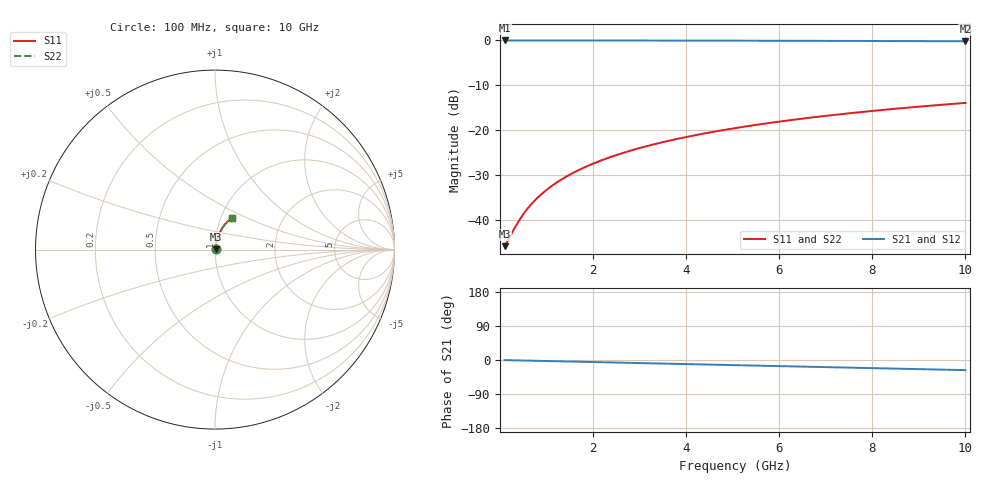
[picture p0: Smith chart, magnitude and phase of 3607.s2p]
# Hz S RI R 50.00
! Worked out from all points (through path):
!   100 points, 100 MHz to 10 GHz, reference 50 ohm
!   highest |S21| = -0.04 dB at 100 MHz (marker M1); lowest = -0.2 dB at 10 GHz (marker M2)
!   group delay of S21, straight-line fit = 7.42 ps
!   lowest |S11| = -45.8 dB at 100 MHz (marker M3), VSWR 1.01, Z = 50.5 + j0.211 ohm
!   |S11| at or under -10 dB: start of sweep to end of sweep
!   |S22| runs from -45.8 to -13.9 dB; largest |S21 - S12| = 0
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1e8  0.00467 0.00209  0.9953 -0.00469  0.9953 -0.00469  0.00467 0.00209
2e8  0.00473 0.00418  0.9952 -0.00938  0.9952 -0.00938  0.00473 0.00418
3e8  0.00481 0.00626  0.9952 -0.0141  0.9952 -0.0141  0.00481 0.00626
4e8  0.00489 0.00835  0.995 -0.0188  0.995 -0.0188  0.00489 0.00835
5e8  0.00499 0.0104  0.9949 -0.0234  0.9949 -0.0234  0.00499 0.0104
6e8  0.00512 0.0125  0.9947 -0.0281  0.9947 -0.0281  0.00512 0.0125
7e8  0.00526 0.0146  0.9946 -0.0328  0.9946 -0.0328  0.00526 0.0146
8e8  0.00541 0.0167  0.9943 -0.0375  0.9943 -0.0375  0.00541 0.0167
1e9  0.00579 0.0208  0.9938 -0.0469  0.9938 -0.0469  0.00579 0.0208
1.2e9  0.00624 0.025  0.9932 -0.0562  0.9932 -0.0562  0.00624 0.025
1.5e9  0.00705 0.0312  0.9921 -0.0702  0.9921 -0.0702  0.00705 0.0312
1.8e9  0.00804 0.0374  0.9908 -0.0842  0.9908 -0.0842  0.00804 0.0374
2.1e9  0.0092 0.0435  0.9892 -0.0981  0.9892 -0.0981  0.0092 0.0435
2.5e9  0.011 0.0516  0.9868 -0.1167  0.9868 -0.1167  0.011 0.0516
2.9e9  0.0131 0.0597  0.9839 -0.1352  0.9839 -0.1352  0.0131 0.0597
3.4e9  0.0162 0.0696  0.9798 -0.1581  0.9798 -0.1581  0.0162 0.0696
4.2e9  0.022 0.0851  0.9718 -0.1945  0.9718 -0.1945  0.022 0.0851
5.1e9  0.03 0.102  0.961 -0.2347  0.961 -0.2347  0.03 0.102
5.9e9  0.0382 0.1163  0.9498 -0.2699  0.9498 -0.2699  0.0382 0.1163
6.7e9  0.0474 0.1299  0.9371 -0.3044  0.9371 -0.3044  0.0474 0.1299
8.4e9  0.07 0.1562  0.9056 -0.3749  0.9056 -0.3749  0.07 0.1562
1e10  0.0945 0.1773  0.8707 -0.4376  0.8707 -0.4376  0.0945 0.1773
